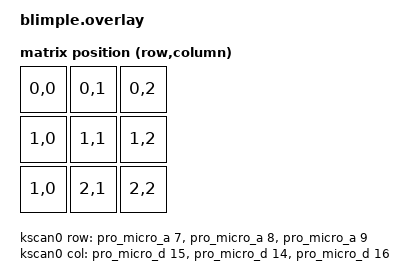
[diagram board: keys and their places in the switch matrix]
/*
 * Copyright (c) 2021 Fabian Maisberger
 *
 * SPDX-License-Identifier: MIT
 */

#include <dt-bindings/zmk/matrix_transform.h>

/ {
    chosen {
        zmk,kscan = &kscan0;
    };

    kscan0: kscan_0 {
        compatible = "zmk,kscan-gpio-matrix";
        label = "KSCAN";
        diode-direction = "col2row";

        col-gpios
            = <&pro_micro_d 15 GPIO_ACTIVE_HIGH>
            , <&pro_micro_d 14 GPIO_ACTIVE_HIGH>
            , <&pro_micro_d 16 GPIO_ACTIVE_HIGH>
            ;

        row-gpios
            = <&pro_micro_a 7 (GPIO_ACTIVE_HIGH | GPIO_PULL_DOWN)>
            , <&pro_micro_a 8 (GPIO_ACTIVE_HIGH | GPIO_PULL_DOWN)>
            , <&pro_micro_a 9 (GPIO_ACTIVE_HIGH | GPIO_PULL_DOWN)>
            ;
    };

	default_transform: keymap_transform_0 {
		compatible = "zmk,matrix-transform";
		columns = <3>;
		rows = <3>;
// | MX1 | MX2 | MX3 |
// | MX4 | MX5 | MX6 |
// | MX7 | MX8 | MX9 |
        map = <
				RC(0,0) RC(0,1) RC(0,2) 
				RC(1,0) RC(1,1) RC(1,2)
				RC(1,0) RC(2,1) RC(2,2)
        >;
	};
};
